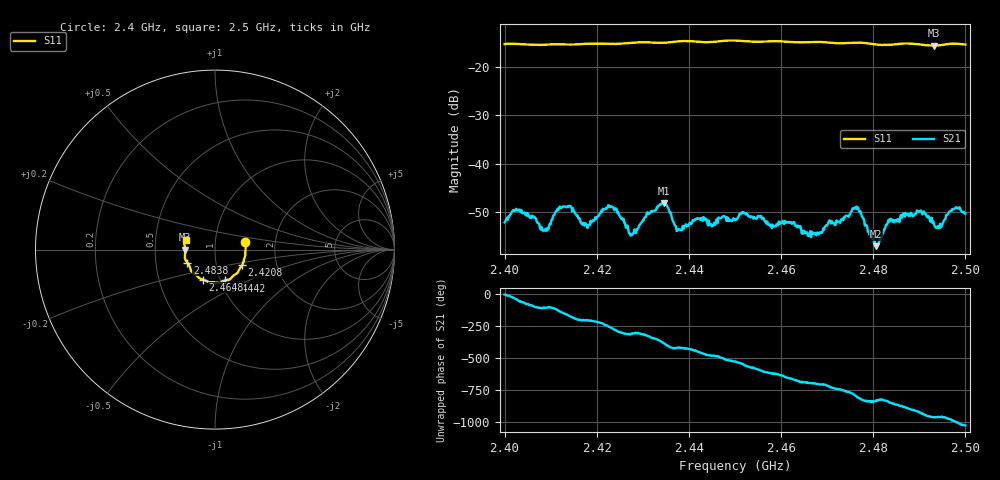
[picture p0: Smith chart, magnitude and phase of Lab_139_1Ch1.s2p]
# Hz S RI R 50
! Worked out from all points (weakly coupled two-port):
!   601 points, 2.4 GHz to 2.5 GHz, reference 50 ohm
!   highest |S21| = -48.17 dB at 2.4347 GHz (marker M1); lowest = -57.1 dB at 2.4805 GHz (marker M2)
!   lowest |S11| = -15.6 dB at 2.4932 GHz (marker M3), VSWR 1.40, Z = 35.8 - j0.0685 ohm
!   |S11| at or under -10 dB: start of sweep to end of sweep
!   S12 and S22 are empty: the file has one direction only
!   S11 on the Smith chart (normalised r, x): 2.4 GHz: 1.40, +0.12; 2.4208 GHz: 1.33, -0.24; 2.4442 GHz: 1.05, -0.37; 2.4648 GHz: 0.83, -0.29; 2.4838 GHz: 0.73, -0.11; 2.5 GHz: 0.72, +0.08
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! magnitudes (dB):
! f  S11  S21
! 2.4 GHz  -15.3  -52.2
! 2.4028 GHz  -15.2  -49.7
! 2.4087 GHz  -15.4  -53.7
! 2.4138 GHz  -15.4  -49.0
! 2.4167 GHz  -15.2  -52.3
! 2.4208 GHz  -15.2  -50.2
! 2.4238 GHz  -15.2  -49.7
! 2.4275 GHz  -15.0  -54.7
! 2.4333 GHz  -15.0  -48.7
! 2.4347 GHz  -15.0  -48.2
! 2.4378 GHz  -14.7  -53.6
! 2.4442 GHz  -14.9  -52.9
! 2.45 GHz  -14.5  -51.7
! 2.4648 GHz  -14.9  -54.5
! 2.4667 GHz  -14.8  -54.1
! 2.4762 GHz  -15.0  -49.3
! 2.4805 GHz  -15.3  -57.1
! 2.4833 GHz  -15.4  -51.7
! 2.4838 GHz  -15.4  -51.7
! 2.49 GHz  -15.3  -50.0
! 2.4932 GHz  -15.6  -52.5
! 2.5 GHz  -15.4  -50.4
